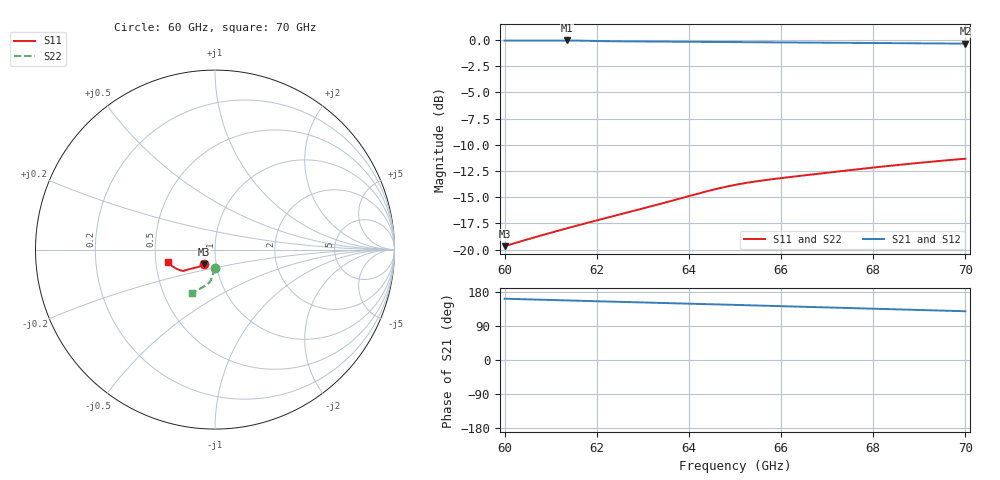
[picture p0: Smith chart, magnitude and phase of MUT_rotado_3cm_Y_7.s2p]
! TOUCHSTONE file generated by CST MICROWAVE STUDIO
! Date and time: Wed Feb 21 09:08:46 2024
! Project name: material_prueba.cst
! Parameters = {Y=1.5}
! Header version: 2018
! Port assignment regex: !\s*Touchstone port\s*([0-9]+)\s*=\s*(CST MWS port|CST DS port)\s*([0-9]+|Zmin|Zmax)\s*\(\"(.*)\"\)(\s*mode\s*([0-9]+))?.*
! Touchstone port assignment:
! Touchstone port 1 = CST MWS port 1 ("")
! Touchstone port 2 = CST MWS port 2 ("")
# GHz S MA R 376.7
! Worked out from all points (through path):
!   1001 points, 60 GHz to 70 GHz, reference 376.7 ohm
!   highest |S21| = -0.03 dB at 61.36 GHz (marker M1); lowest = -0.3 dB at 70 GHz (marker M2)
!   group delay of S21, straight-line fit = 9.17 ps
!   lowest |S11| = -19.7 dB at 60 GHz (marker M3), VSWR 1.23, Z = 328 - j54.6 ohm
!   |S11| at or under -10 dB: start of sweep to end of sweep
!   |S22| runs from -19.7 to -11.3 dB; largest |S21 - S12| = 0.00077
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60  0.1038 -127.5  0.9945 161.7  0.9945 161.7  0.104 -89.1
60.54  0.1126 -129.3  0.994 160.0  0.994 160.0  0.1132 -91.2
60.92  0.1189 -130.6  0.9945 158.9  0.9947 158.9  0.1196 -92.4
61.14  0.1226 -131.4  0.9956 158.1  0.9962 158.1  0.1232 -93.1
61.36  0.1264 -132.3  0.9965 157.3  0.9972 157.3  0.1269 -93.7
61.51  0.1291 -132.8  0.9957 156.7  0.9959 156.7  0.1294 -94.1
61.67  0.1319 -133.5  0.9936 156.1  0.9935 156.1  0.1321 -94.4
61.99  0.1376 -134.7  0.9899 155.1  0.9899 155.1  0.1376 -95.1
62.68  0.1507 -137.6  0.9864 152.9  0.9865 152.9  0.1503 -96.1
63.34  0.1644 -140.4  0.9843 150.8  0.9843 150.8  0.1651 -97.1
63.89  0.1773 -142.6  0.9825 149.1  0.9826 149.1  0.1794 -98.8
64.24  0.186 -143.7  0.9815 147.9  0.9815 147.9  0.1881 -100.3
64.6  0.1949 -144.5  0.9803 146.7  0.9803 146.7  0.1961 -102.0
65  0.2036 -145.2  0.9791 145.4  0.9791 145.4  0.2037 -103.9
65.29  0.209 -145.7  0.9781 144.5  0.9781 144.5  0.2085 -105.2
65.61  0.214 -146.4  0.9771 143.4  0.9771 143.4  0.2135 -106.5
66.1  0.2207 -147.9  0.9755 141.8  0.9755 141.8  0.2205 -108.2
66.67  0.2283 -150.1  0.9737 139.9  0.9736 139.9  0.2284 -110.0
67.48  0.2393 -153.5  0.971 137.1  0.971 137.1  0.2393 -112.2
68.34  0.2509 -157.4  0.9681 134.3  0.9681 134.3  0.2505 -114.3
69.27  0.2629 -161.6  0.9649 131.1  0.9649 131.1  0.2623 -116.3
70  0.2715 -164.8  0.9624 128.7  0.9624 128.7  0.2714 -117.9
